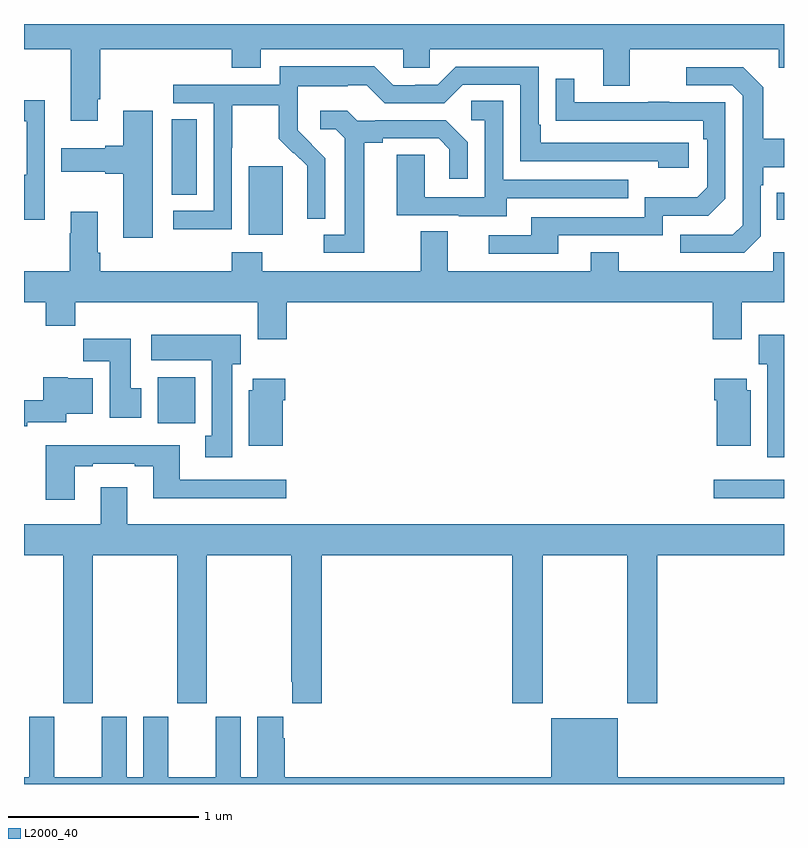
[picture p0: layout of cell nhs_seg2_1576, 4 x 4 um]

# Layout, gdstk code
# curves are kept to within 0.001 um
import gdstk
lib = gdstk.Library(unit=1e-6, precision=1e-09)
def R(c, l, rs):  # rectangles x0, y0, x1, y1
    for r in rs: c.add(gdstk.rectangle(r[:2], r[2:], *l))
def P(c, l, *ps):  # polygons
    for p in ps: c.add(gdstk.Polygon(p, *l))
L2000_40 = (2000, 40)

nhs_seg2_1576 = lib.new_cell('nhs_seg2_1576')
R(nhs_seg2_1576, L2000_40, [(196.629,613.304,197,613.401), (193.703,613.7,193.9,613.942), (194.183,614.69,194.362,615.051), (196.963,614.771,197,614.911), (193.778,614.902,193.909,615.299)])
P(nhs_seg2_1576, L2000_40, [(193.387,615.403),(193.4,615.403),(193.4,615.668),(194.093,615.668),(194.093,615.569),(194.245,615.569),(194.245,615.668),(194.997,615.668),(194.997,615.57),(195.135,615.57),(195.135,615.668),(196.049,615.668),(196.049,615.474),(196.189,615.474),(196.189,615.668),(196.973,615.668),(196.973,615.569),(197,615.569),(197,615.8),(193,615.8),(193,615.668),(193.247,615.668),(193.247,615.291),(193.387,615.291)],
  [(194.094,615.148),(194.097,615.148),(194.097,615.372),(194.341,615.372),(194.341,615.197),(194.418,615.12),(194.421,615.123),(194.492,615.053),(194.492,614.93),(194.49,614.93),(194.49,614.776),(194.586,614.776),(194.586,615.094),(194.44,615.242),(194.44,615.339),(194.442,615.339),(194.442,615.473),(194.705,615.473),(194.705,615.477),(194.805,615.477),(194.898,615.384),(195.213,615.384),(195.309,615.48),(195.612,615.48),(195.612,615.078),(196.337,615.078),(196.337,615.044),(196.498,615.044),(196.498,615.174),(195.721,615.174),(195.721,615.271),(195.708,615.271),(195.708,615.576),(195.273,615.576),(195.177,615.48),(195.059,615.48),(195.059,615.477),(194.943,615.477),(194.843,615.577),(194.346,615.577),(194.346,615.48),(193.785,615.48),(193.785,615.384),(193.998,615.384),(193.998,614.817),(193.785,614.817),(193.785,614.719),(194.094,614.719)],
  [(196.878,614.682),(196.878,614.951),(196.891,614.951),(196.891,615.047),(197,615.047),(197,615.195),(196.891,615.195),(196.891,615.467),(196.785,615.573),(196.485,615.573),(196.485,615.477),(196.728,615.477),(196.782,615.423),(196.782,614.742),(196.731,614.691),(196.455,614.691),(196.455,614.595),(196.791,614.595)],
  [(195.811,614.688),(196.362,614.688),(196.362,614.79),(196.602,614.79),(196.692,614.88),(196.692,615.387),(196.397,615.387),(196.397,615.392),(196.285,615.392),(196.285,615.387),(195.895,615.387),(195.895,615.511),(195.799,615.511),(195.799,615.292),(196.576,615.291),(196.576,615.194),(196.596,615.194),(196.596,614.94),(196.543,614.887),(196.266,614.887),(196.266,614.784),(195.671,614.784),(195.671,614.688),(195.447,614.688),(195.447,614.592),(195.811,614.592)],
  [(193.11,615.4),(193,615.4),(193,615.287),(193.014,615.287),(193.014,615.007),(193.002,615.007),(193.002,614.911),(193,614.911),(193,614.771),(193.11,614.771)],
  [(195.541,614.883),(196.181,614.883),(196.181,614.979),(195.522,614.979),(195.522,615.395),(195.354,615.395),(195.354,615.294),(195.426,615.294),(195.426,614.889),(195.108,614.889),(195.108,615.113),(194.963,615.113),(194.963,614.793),(195.287,614.793),(195.287,614.789),(195.541,614.789)],
  [(194.791,615.176),(194.887,615.176),(194.887,615.198),(195.182,615.198),(195.239,615.141),(195.239,614.985),(195.336,614.985),(195.336,615.178),(195.22,615.294),(194.848,615.294),(194.848,615.291),(194.754,615.291),(194.702,615.343),(194.559,615.343),(194.559,615.246),(194.64,615.246),(194.687,615.199),(194.687,614.691),(194.577,614.691),(194.577,614.595),(194.791,614.595)],
  [(193.678,615.343),(193.523,615.343),(193.523,615.158),(193.427,615.158),(193.427,615.145),(193.197,615.145),(193.197,615.023),(193.427,615.023),(193.427,615.011),(193.523,615.011),(193.523,614.676),(193.678,614.676)],
  [(194.384,614.336),(196.625,614.336),(196.625,614.142),(196.777,614.142),(196.777,614.336),(197,614.336),(197,614.599),(196.944,614.599),(196.944,614.5),(196.131,614.5),(196.131,614.599),(195.983,614.599),(195.983,614.5),(195.229,614.5),(195.229,614.708),(195.089,614.708),(195.089,614.5),(194.253,614.5),(194.253,614.599),(194.093,614.599),(194.093,614.5),(193.4,614.5),(193.4,614.596),(193.387,614.596),(193.387,614.812),(193.247,614.812),(193.247,614.699),(193.24,614.699),(193.24,614.5),(193,614.5),(193,614.336),(193.115,614.336),(193.115,614.212),(193.271,614.212),(193.271,614.336),(194.231,614.336),(194.231,614.142),(194.384,614.142)],
  [(197,614.164),(196.868,614.164),(196.868,614.01),(196.913,614.01),(196.913,613.521),(197,613.521)],
  [(194.095,614.01),(194.14,614.01),(194.14,614.164),(193.671,614.164),(193.671,614.03),(193.988,614.03),(193.988,613.634),(193.955,613.634),(193.955,613.521),(194.095,613.521)],
  [(193.618,613.884),(193.561,613.884),(193.561,614.143),(193.312,614.143),(193.312,614.024),(193.451,614.024),(193.451,613.728),(193.618,613.728)],
  [(193.016,613.704),(193.222,613.704),(193.222,613.748),(193.363,613.748),(193.363,613.936),(193.23,613.936),(193.23,613.942),(193.1,613.942),(193.1,613.82),(193,613.82),(193,613.684),(193.016,613.684)],
  [(196.825,613.872),(196.804,613.872),(196.804,613.933),(196.634,613.933),(196.634,613.82),(196.646,613.82),(196.646,613.58),(196.825,613.58)],
  [(194.362,613.82),(194.375,613.82),(194.375,613.933),(194.204,613.933),(194.204,613.872),(194.183,613.872),(194.183,613.58),(194.362,613.58)],
  [(193.267,613.473),(193.363,613.473),(193.363,613.485),(193.583,613.485),(193.583,613.473),(193.679,613.473),(193.679,613.304),(194.38,613.304),(194.38,613.401),(193.819,613.401),(193.819,613.582),(193.115,613.582),(193.115,613.296),(193.267,613.296)],
  [(193.362,613.004),(193.807,613.004),(193.807,612.225),(193.962,612.225),(193.962,613.004),(194.407,613.004),(194.407,612.337),(194.411,612.337),(194.411,612.225),(194.567,612.225),(194.567,613.004),(195.569,613.004),(195.569,612.225),(195.729,612.225),(195.729,613.004),(196.174,613.004),(196.174,612.225),(196.334,612.225),(196.334,613.004),(197,613.004),(197,613.168),(193.543,613.168),(193.543,613.363),(193.403,613.363),(193.403,613.168),(193,613.168),(193,613.004),(193.207,613.004),(193.207,612.225),(193.362,612.225)],
  [(195.776,612.145),(195.776,611.836),(194.372,611.836),(194.372,612.041),(194.365,612.041),(194.365,612.154),(194.228,612.154),(194.228,611.836),(194.14,611.836),(194.14,612.154),(194.009,612.154),(194.009,611.836),(193.759,611.836),(193.759,612.154),(193.628,612.154),(193.628,611.836),(193.54,611.836),(193.54,612.154),(193.409,612.154),(193.409,611.836),(193.159,611.836),(193.159,612.154),(193.028,612.154),(193.028,611.836),(193,611.836),(193,611.8),(197,611.8),(197,611.836),(196.126,611.836),(196.126,612.145)])

lib.write_gds('nhs_seg2_1576.gds')
